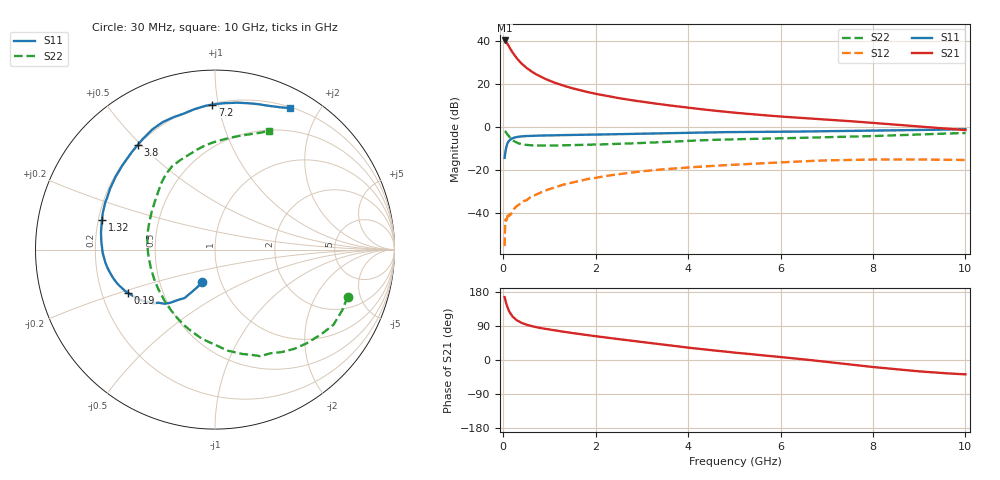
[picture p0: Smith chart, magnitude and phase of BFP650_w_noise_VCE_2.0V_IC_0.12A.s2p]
! Infineon Technologies  Discrete & RF Semiconductors
! BFP650
! VCE =  2.0 V,  IC = 0.12 A
! Common Emitter S-Parameters:  Jan 2016
# GHz  S  MA  R  50
!  f  S11  S21  S12  S22
! GHz  MAG  ANG  MAG  ANG  MAG  ANG  MAG  ANG
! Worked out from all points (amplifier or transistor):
!   229 points, 30 MHz to 10 GHz, reference 50 ohm
!   highest |S21| = 40.3 dB at 30 MHz (marker M1)
!   |S21| within 3 dB of that: start of sweep to 128.7 MHz
!   unconditionally stable (mu >= 1): start of sweep to 30.06476 MHz; 1.013 GHz to end of sweep
!   at 280 MHz: K = 0.73, MSG = 34.7 dB, |S12| = -37.0 dB
!   at 1.78 GHz: K = 1.03, MAG = 19.4 dB, |S12| = -24.4 dB
!   at 10 GHz: K = 1.03, MAG = 5.8 dB, |S12| = -15.3 dB
!   lowest NFmin = 1.60 dB at 450 MHz
!   S11 on the Smith chart (normalised r, x): 30 MHz: 0.82, -0.30; 190 MHz: 0.31, -0.21; 1.32 GHz: 0.21, +0.12; 3.8 GHz: 0.20, +0.49; 7.2 GHz: 0.21, +0.96; 10 GHz: 0.21, +1.64
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0.03  0.1929 -111.5  103.4 166.0  0.0017 32.6  0.7848 -19.5
0.04  0.2305 -115.1  102.5 160.9  0.0046 70.0  0.7853 -25.6
0.06  0.3185 -122.1  97.77 151.8  0.0067 75.8  0.7559 -38.8
0.08  0.3851 -129.9  90.67 143.3  0.0076 69.0  0.7085 -51.2
0.09  0.4113 -132.8  86.87 140.0  0.0083 68.8  0.681 -57.0
0.13  0.4848 -143.4  72.85 128.2  0.0086 59.6  0.6018 -75.2
0.15  0.5092 -147.1  67.04 123.8  0.009 59.4  0.5681 -82.7
0.19  0.5407 -153.4  57.18 117.0  0.0103 58.9  0.5116 -95.0
0.24  0.5694 -159.3  47.57 110.2  0.0127 60.8  0.4674 -108.0
0.3  0.5897 -164.5  39.04 104.3  0.0147 60.6  0.4322 -120.1
0.45  0.6143 -172.8  26.66 95.4  0.0192 61.8  0.3904 -140.2
0.6  0.6259 -178.3  20.05 89.8  0.0238 63.3  0.3774 -153.3
0.8  0.6349 176.0  15.02 84.5  0.0298 64.5  0.3717 -165.0
1.32  0.6513 165.2  9.077 74.4  0.0464 61.5  0.3767 176.1
1.7  0.6627 158.2  7.027 67.8  0.0573 58.1  0.386 166.6
3.4  0.7101 131.8  3.402 41.5  0.1028 38.8  0.4456 136.1
3.8  0.7256 126.2  3 35.6  0.1111 34.2  0.4671 130.7
5.1  0.7686 111.2  2.117 18.5  0.1351 21.0  0.5238 116.1
6.8  0.7975 95.4  1.547 -2.2  0.165 3.4  0.5735 97.9
7.2  0.8075 91.0  1.448 -7.7  0.1699 -1.2  0.5867 94.1
8.4  0.8387 76.2  1.16 -23.3  0.1763 -14.4  0.6388 79.9
10  0.8923 62.2  0.854 -37.9  0.1718 -27.0  0.728 65.5
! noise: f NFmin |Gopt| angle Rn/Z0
0.45  1.6  0.6  -171  0.06
0.9  1.62  0.61  -164  0.07
1.9  1.77  0.62  -149  0.11
2.4  1.88  0.61  -140  0.16
3.5  2.06  0.62  -118  0.29
